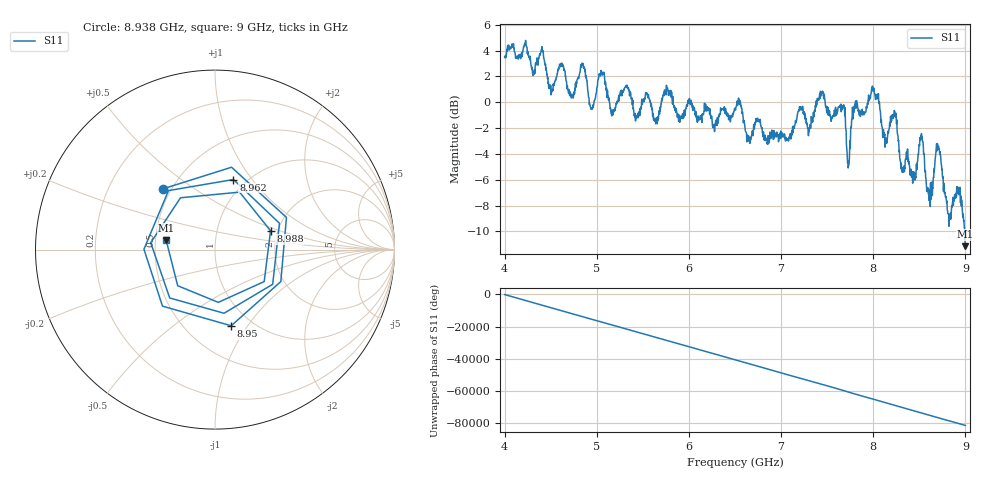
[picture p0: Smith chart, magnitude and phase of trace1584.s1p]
! Created with skrf 1.8.0 (http://scikit-rf.org).
# Hz S RI R 50.0
!freq ReS11 ImS11
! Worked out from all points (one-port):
!   1601 points, 4 GHz to 9 GHz, reference 50 ohm
!   lowest |S11| = -11.1 dB at 9 GHz (marker M1), VSWR 1.77, Z = 28.5 + j3.22 ohm
!   |S11| at or under -10 dB: 8.991952 GHz to end of sweep
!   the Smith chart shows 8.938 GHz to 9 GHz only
!   S11 on the Smith chart (normalised r, x): 8.938 GHz: 0.45, +0.38; 8.95 GHz: 0.81, -0.84; 8.962 GHz: 0.87, +0.82; 8.988 GHz: 1.83, +0.43; 9 GHz: 0.57, +0.06
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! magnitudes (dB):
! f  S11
! 4 GHz  3.5
! 4.403 GHz  4.1
! 4.503 GHz  0.6
! 4.625 GHz  2.8
! 4.728 GHz  0.6
! 4.85 GHz  3.0
! 4.944 GHz  -0.5
! 5.053 GHz  2.2
! 5.162 GHz  -1.1
! 5.25 GHz  0.6
! 5.875 GHz  -1.2
! 6.5 GHz  -0.5
! 7.125 GHz  -1.9
! 7.444 GHz  0.7
! 7.75 GHz  -3.6
! 7.8 GHz  -0.2
! 7.997 GHz  0.9
! 8.375 GHz  -3.8
! 8.441 GHz  -5.8
! 8.522 GHz  -2.4
! 8.622 GHz  -6.2
! 8.706 GHz  -3.5
! 8.822 GHz  -9.6
! 8.938 GHz  -7.0
! 8.95 GHz  -7.3
! 8.962 GHz  -7.9
! 8.988 GHz  -9.7
! 9 GHz  -11.1
